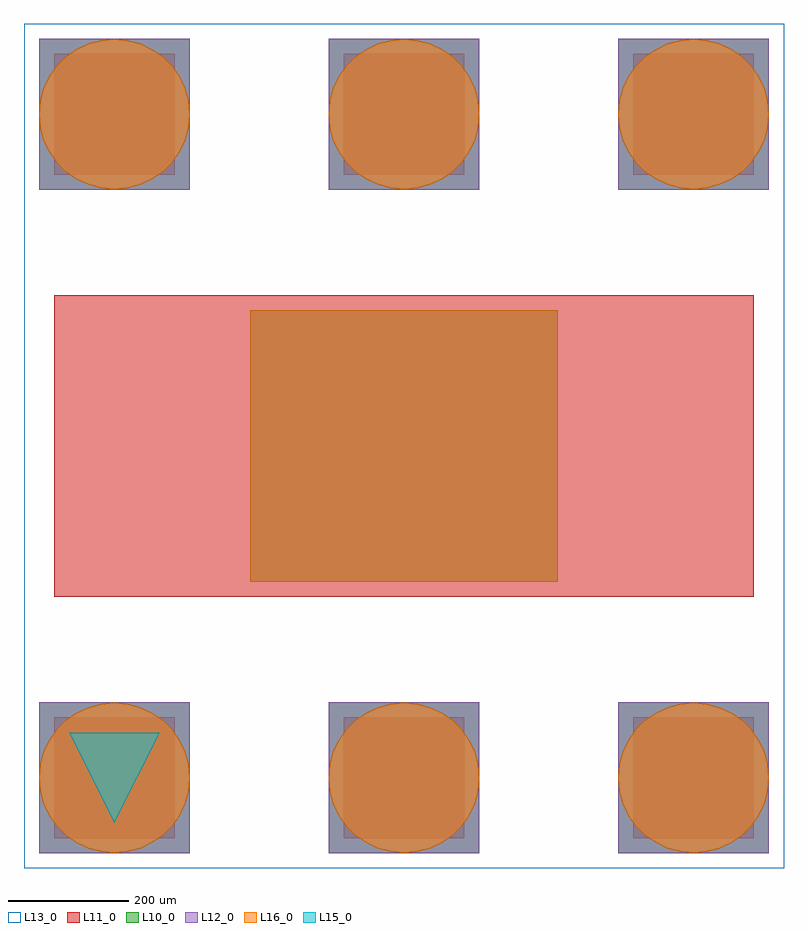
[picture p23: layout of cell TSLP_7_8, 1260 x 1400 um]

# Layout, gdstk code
import gdstk
lib = gdstk.Library(unit=1e-6, precision=1e-09)
def R(c, l, rs):  # rectangles x0, y0, x1, y1
    for r in rs: c.add(gdstk.rectangle(r[:2], r[2:], *l))
def A(c, l, x, y, w, h, nx, ny, dx, dy):  # array of equal rectangles
    R(c, l, [(x+i*dx, y+j*dy, x+i*dx+w, y+j*dy+h) for i in range(nx) for j in range(ny)])
def P(c, l, *ps):  # polygons
    for p in ps: c.add(gdstk.Polygon(p, *l))
L10_0 = (10, 0)
L11_0 = (11, 0)
L12_0 = (12, 0)
L13_0 = (13, 0)
L15_0 = (15, 0)
L16_0 = (16, 0)

tslp_7_8 = lib.new_cell('TSLP_7_8')
A(tslp_7_8, L10_0, -605, -675, 250, 250, 3, 2, 480, 1100)
R(tslp_7_8, L10_0, [(-255,-225,255,225)])
A(tslp_7_8, L11_0, -580, -650, 200, 200, 3, 2, 480, 1100)
R(tslp_7_8, L11_0, [(-580,-250,580,250)])
A(tslp_7_8, L12_0, -605, -675, 250, 250, 3, 2, 480, 1100)
R(tslp_7_8, L12_0, [(-255,-225,255,225)])
R(tslp_7_8, L13_0, [(-630,-700,630,700)])
P(tslp_7_8, L15_0, [(-480,-625),(-555,-475),(-405,-475)])
R(tslp_7_8, L16_0, [(-255,-225,255,225)])
P(tslp_7_8, L16_0, [(598,-593),(588,-613),(576,-630),(560,-646),(543,-658),(523,-668),(502,-673),(480,-675),(458,-673),(437,-668),(418,-658),(400,-646),(384,-630),(372,-613),(363,-593),(357,-572),(355,-550),(357,-528),(363,-507),(372,-488),(384,-470),(400,-454),(418,-442),(437,-433),(458,-427),(480,-425),(502,-427),(523,-433),(543,-442),(560,-454),(576,-470),(588,-488),(598,-507),(603,-528),(605,-550),(603,-572)],
  [(598,507),(588,488),(576,470),(560,454),(543,442),(523,433),(502,427),(480,425),(458,427),(437,433),(418,442),(400,454),(384,470),(372,488),(363,507),(357,528),(355,550),(357,572),(363,593),(372,613),(384,630),(400,646),(418,658),(437,668),(458,673),(480,675),(502,673),(523,668),(543,658),(560,646),(576,630),(588,613),(598,593),(603,572),(605,550),(603,528)],
  [(118,507),(108,488),(96,470),(80,454),(63,442),(43,433),(22,427),(0,425),(-22,427),(-43,433),(-63,442),(-80,454),(-96,470),(-108,488),(-118,507),(-123,528),(-125,550),(-123,572),(-118,593),(-108,613),(-96,630),(-80,646),(-63,658),(-43,668),(-22,673),(0,675),(22,673),(43,668),(63,658),(80,646),(96,630),(108,613),(118,593),(123,572),(125,550),(123,528)],
  [(-363,-593),(-372,-613),(-384,-630),(-400,-646),(-418,-658),(-437,-668),(-458,-673),(-480,-675),(-502,-673),(-523,-668),(-543,-658),(-560,-646),(-576,-630),(-588,-613),(-598,-593),(-603,-572),(-605,-550),(-603,-528),(-598,-507),(-588,-488),(-576,-470),(-560,-454),(-543,-442),(-523,-433),(-502,-427),(-480,-425),(-458,-427),(-437,-433),(-418,-442),(-400,-454),(-384,-470),(-372,-488),(-363,-507),(-357,-528),(-355,-550),(-357,-572)],
  [(-363,507),(-372,488),(-384,470),(-400,454),(-418,442),(-437,433),(-458,427),(-480,425),(-502,427),(-523,433),(-543,442),(-560,454),(-576,470),(-588,488),(-598,507),(-603,528),(-605,550),(-603,572),(-598,593),(-588,613),(-576,630),(-560,646),(-543,658),(-523,668),(-502,673),(-480,675),(-458,673),(-437,668),(-418,658),(-400,646),(-384,630),(-372,613),(-363,593),(-357,572),(-355,550),(-357,528)],
  [(118,-593),(108,-613),(96,-630),(80,-646),(63,-658),(43,-668),(22,-673),(0,-675),(-22,-673),(-43,-668),(-63,-658),(-80,-646),(-96,-630),(-108,-613),(-118,-593),(-123,-572),(-125,-550),(-123,-528),(-118,-507),(-108,-488),(-96,-470),(-80,-454),(-63,-442),(-43,-433),(-22,-427),(0,-425),(22,-427),(43,-433),(63,-442),(80,-454),(96,-470),(108,-488),(118,-507),(123,-528),(125,-550),(123,-572)])

lib.write_gds('TSLP_7_8.gds')
